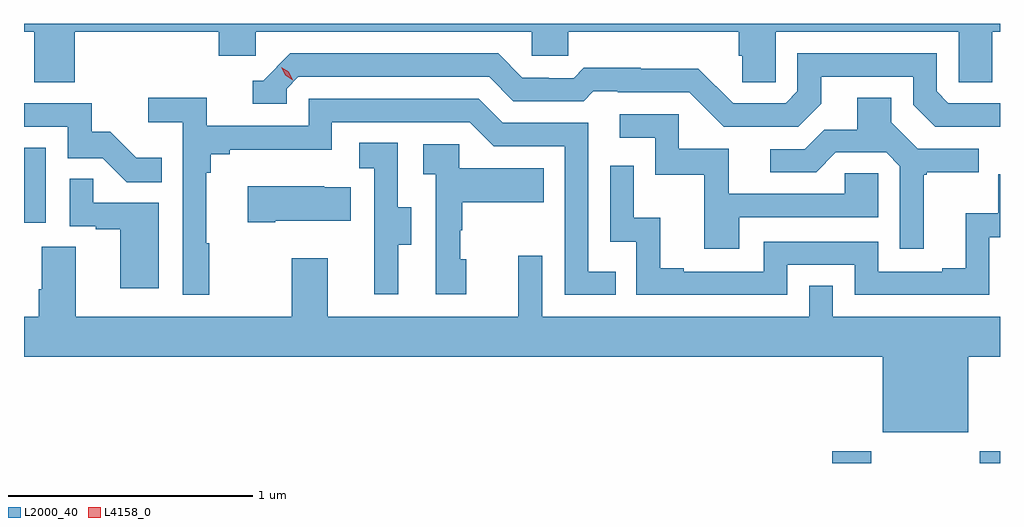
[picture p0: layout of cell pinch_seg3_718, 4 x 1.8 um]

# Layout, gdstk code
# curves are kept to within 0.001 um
import gdstk
lib = gdstk.Library(unit=1e-6, precision=1e-09)
def R(c, l, rs):  # rectangles x0, y0, x1, y1
    for r in rs: c.add(gdstk.rectangle(r[:2], r[2:], *l))
def P(c, l, *ps):  # polygons
    for p in ps: c.add(gdstk.Polygon(p, *l))
L2000_40 = (2000, 40)
L4158_0 = (4158, 0)

pinch_seg3_718 = lib.new_cell('pinch_seg3_718')
R(pinch_seg3_718, L2000_40, [(888.653,747.1,888.813,747.148), (889.258,747.1,889.34,747.148), (885.34,748.086,885.43,748.393)])
P(pinch_seg3_718, L2000_40, [(885.548,748.868),(886.139,748.868),(886.139,748.77),(886.29,748.77),(886.29,748.868),(887.421,748.868),(887.421,748.77),(887.571,748.77),(887.571,748.868),(888.269,748.868),(888.269,748.77),(888.283,748.77),(888.283,748.66),(888.42,748.66),(888.42,748.868),(889.17,748.868),(889.17,748.66),(889.309,748.66),(889.309,748.868),(889.34,748.868),(889.34,748.9),(885.34,748.9),(885.34,748.868),(885.383,748.868),(885.383,748.66),(885.548,748.66)],
  [(889.34,748.575),(889.128,748.575),(889.08,748.623),(889.08,748.779),(888.51,748.779),(888.51,748.623),(888.462,748.575),(888.246,748.575),(888.104,748.717),(887.868,748.717),(887.868,748.72),(887.635,748.72),(887.593,748.677),(887.49,748.677),(887.49,748.68),(887.383,748.68),(887.284,748.779),(886.431,748.779),(886.32,748.668),(886.277,748.668),(886.277,748.572),(886.416,748.572),(886.416,748.635),(886.464,748.683),(887.247,748.683),(887.346,748.584),(887.635,748.584),(887.674,748.623),(887.773,748.623),(887.773,748.62),(888.066,748.62),(888.207,748.479),(888.513,748.479),(888.607,748.573),(888.607,748.683),(888.984,748.683),(888.984,748.569),(889.074,748.479),(889.34,748.478)],
  [(889.027,748.281),(889.039,748.281),(889.039,748.292),(889.252,748.292),(889.252,748.389),(889.002,748.389),(888.895,748.496),(888.895,748.598),(888.755,748.598),(888.755,748.466),(888.62,748.466),(888.54,748.386),(888.399,748.386),(888.399,748.293),(888.586,748.293),(888.667,748.374),(888.873,748.374),(888.93,748.317),(888.93,747.978),(889.027,747.978)],
  [(886.099,748.001),(886.087,748.001),(886.087,748.289),(886.106,748.289),(886.106,748.366),(886.183,748.366),(886.183,748.385),(886.602,748.385),(886.602,748.497),(887.166,748.497),(887.265,748.398),(887.556,748.398),(887.556,747.789),(887.765,747.789),(887.765,747.885),(887.652,747.885),(887.652,748.494),(887.302,748.494),(887.203,748.593),(886.506,748.593),(886.506,748.482),(886.088,748.482),(886.088,748.598),(885.849,748.598),(885.849,748.496),(885.99,748.496),(885.99,747.789),(886.099,747.789)],
  [(885.905,748.351),(885.801,748.351),(885.694,748.458),(885.618,748.458),(885.618,748.575),(885.34,748.575),(885.34,748.479),(885.519,748.479),(885.519,748.35),(885.663,748.35),(885.761,748.252),(885.905,748.252)],
  [(888.271,748.107),(888.84,748.107),(888.84,748.287),(888.703,748.287),(888.703,748.203),(888.229,748.203),(888.229,748.389),(888.024,748.389),(888.024,748.53),(887.781,748.53),(887.781,748.434),(887.928,748.434),(887.928,748.281),(888.127,748.281),(888.127,747.978),(888.271,747.978)],
  [(886.873,747.994),(886.927,747.994),(886.927,748.149),(886.872,748.149),(886.872,748.412),(886.713,748.412),(886.713,748.309),(886.776,748.309),(886.776,748.005),(886.775,748.005),(886.775,747.792),(886.873,747.792)],
  [(887.152,747.936),(887.127,747.936),(887.127,748.055),(887.137,748.055),(887.137,748.169),(887.471,748.169),(887.471,748.309),(887.124,748.309),(887.124,748.407),(886.977,748.407),(886.977,748.283),(887.028,748.283),(887.028,747.792),(887.152,747.792)],
  [(888.468,747.912),(888.744,747.912),(888.744,747.789),(889.296,747.789),(889.296,748.025),(889.34,748.025),(889.34,748.284),(889.332,748.284),(889.332,748.123),(889.199,748.123),(889.199,747.898),(889.103,747.898),(889.103,747.885),(888.84,747.885),(888.84,748.008),(888.372,748.008),(888.372,747.885),(888.043,747.885),(888.043,747.898),(887.948,747.898),(887.948,748.106),(887.838,748.106),(887.838,748.318),(887.742,748.318),(887.742,748.008),(887.85,748.008),(887.85,747.789),(888.468,747.789)],
  [(885.892,748.167),(885.623,748.167),(885.623,748.265),(885.528,748.265),(885.528,748.071),(885.635,748.071),(885.635,748.059),(885.734,748.059),(885.734,747.816),(885.892,747.816)],
  [(886.369,748.094),(886.679,748.094),(886.679,748.231),(886.571,748.231),(886.571,748.234),(886.257,748.234),(886.257,748.087),(886.369,748.087)],
  [(889.21,747.536),(889.34,747.536),(889.34,747.7),(888.654,747.7),(888.654,747.827),(888.558,747.827),(888.558,747.7),(887.463,747.7),(887.463,747.949),(887.366,747.949),(887.366,747.7),(886.585,747.7),(886.585,747.94),(886.438,747.94),(886.438,747.7),(885.553,747.7),(885.553,747.986),(885.413,747.986),(885.413,747.812),(885.401,747.812),(885.401,747.7),(885.34,747.7),(885.34,747.536),(888.86,747.536),(888.86,747.227),(889.21,747.227)])
P(pinch_seg3_718, L4158_0, [(886.441,748.67),(886.41,748.69),(886.394,748.722),(886.394,748.723),(886.394,748.723),(886.425,748.703),(886.441,748.67),(886.441,748.67)])

lib.write_gds('pinch_seg3_718.gds')
